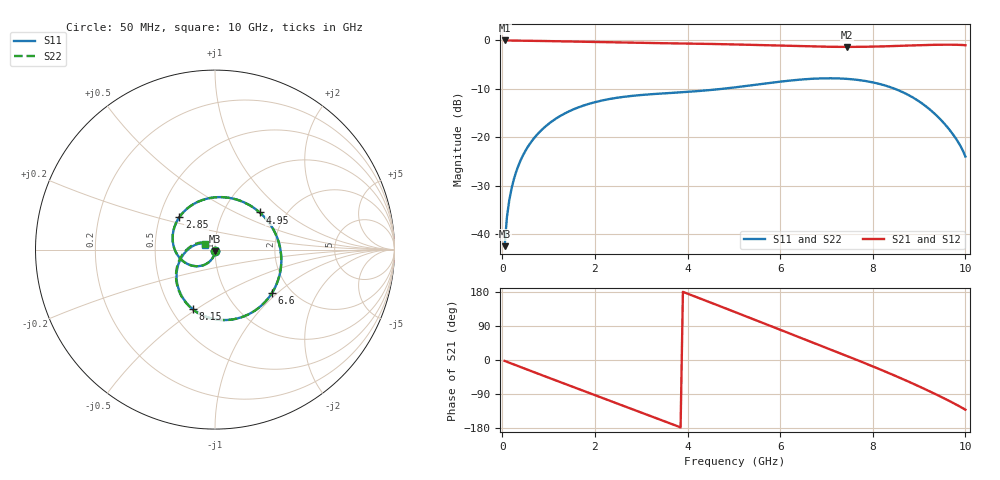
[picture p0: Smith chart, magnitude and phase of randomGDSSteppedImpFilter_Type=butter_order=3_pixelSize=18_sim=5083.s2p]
! freq	dB(S11)	phase(S11)	dB(S12)	phase(S12)
!  dB(S21)	phase(S21)	dB(S22)	phase(S22)
!S-par simulation data
#  GHz  S  DB  R 50
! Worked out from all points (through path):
!   200 points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, 50 MHz to 10 GHz, reference 50 ohm
!   highest |S21| = 0.00 dB at 50 MHz (marker M1); lowest = -1.3 dB at 7.45 GHz (marker M2)
!   group delay of S21, straight-line fit = 133 ps
!   lowest |S11| = -42.5 dB at 50 MHz (marker M3), VSWR 1.02, Z = 50 - j0.746 ohm
!   |S11| at or under -10 dB: start of sweep to 4.756 GHz; 8.475 GHz to end of sweep
!   |S22| runs from -42.5 to -7.8 dB; largest |S21 - S12| = 0
!   S11 on the Smith chart (normalised r, x): 50 MHz: 1.00, -0.01; 2.85 GHz: 0.63, +0.25; 4.95 GHz: 1.47, +0.68; 6.6 GHz: 1.60, -0.92; 8.15 GHz: 0.64, -0.49; 10 GHz: 0.89, +0.05
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0.05  -42.54 -91.8  -0.00 -2.4  -0.00 -2.4  -42.54 -91.8
0.1  -36.55 -94.3  -0.01 -4.7  -0.01 -4.7  -36.55 -94.3
0.2  -30.61 -99.3  -0.02 -9.4  -0.02 -9.4  -30.61 -99.4
0.5  -22.82 -114.0  -0.05 -23.5  -0.05 -23.5  -22.82 -114.1
1.15  -16.22 -144.5  -0.17 -53.7  -0.17 -53.7  -16.22 -144.5
1.75  -13.48 -172.2  -0.29 -81.2  -0.29 -81.2  -13.48 -172.2
2.3  -12.14 162.6  -0.40 -106.4  -0.40 -106.4  -12.14 162.5
2.85  -11.41 137.4  -0.49 -131.5  -0.49 -131.5  -11.41 137.3
3.4  -11.00 112.1  -0.56 -156.9  -0.56 -156.9  -11.00 112.0
4.15  -10.53 77.3  -0.66 168.1  -0.66 168.1  -10.53 77.0
4.95  -9.79 39.8  -0.81 130.1  -0.81 130.1  -9.79 39.4
5.05  -9.68 35.1  -0.83 125.4  -0.83 125.4  -9.68 34.7
5.8  -8.76 -0.1  -1.02 89.5  -1.02 89.5  -8.76 -0.5
6.6  -7.98 -37.4  -1.23 51.1  -1.23 51.1  -7.98 -37.9
6.7  -7.92 -42.0  -1.25 46.3  -1.25 46.3  -7.92 -42.5
7.45  -7.95 -76.9  -1.34 10.3  -1.34 10.3  -7.95 -77.5
8.15  -9.01 -110.2  -1.24 -24.4  -1.24 -24.4  -9.01 -111.0
8.35  -9.57 -120.1  -1.19 -34.7  -1.19 -34.7  -9.58 -121.0
8.85  -11.71 -145.6  -1.03 -61.3  -1.03 -61.3  -11.72 -146.9
9.25  -14.42 -167.3  -0.92 -83.9  -0.92 -83.9  -14.44 -169.2
9.65  -18.39 169.3  -0.88 -107.9  -0.88 -107.9  -18.41 166.2
10  -24.00 153.3  -0.99 -131.2  -0.99 -131.2  -24.04 148.1
